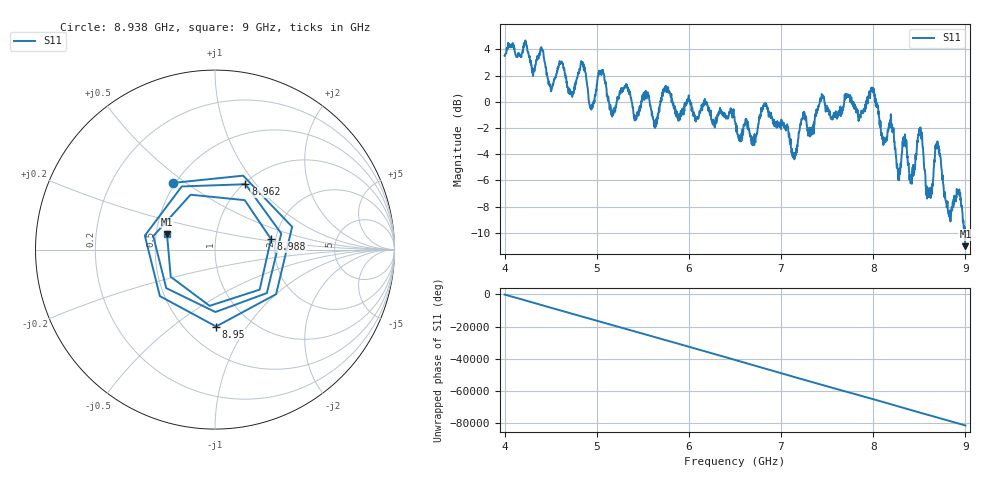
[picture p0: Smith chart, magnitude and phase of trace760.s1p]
! Created with skrf 1.8.0 (http://scikit-rf.org).
# Hz S RI R 50.0
!freq ReS11 ImS11
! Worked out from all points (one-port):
!   1601 points, 4 GHz to 9 GHz, reference 50 ohm
!   lowest |S11| = -11.0 dB at 9 GHz (marker M1), VSWR 1.78, Z = 28.5 + j5.38 ohm
!   |S11| at or under -10 dB: 8.99378 GHz to end of sweep
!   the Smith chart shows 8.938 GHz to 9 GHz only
!   S11 on the Smith chart (normalised r, x): 8.938 GHz: 0.49, +0.45; 8.95 GHz: 0.70, -0.73; 8.962 GHz: 1.02, +0.89; 8.988 GHz: 1.88, +0.25; 9 GHz: 0.57, +0.11
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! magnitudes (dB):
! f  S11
! 4 GHz  3.5
! 4.625 GHz  2.9
! 4.728 GHz  0.8
! 4.85 GHz  2.9
! 4.941 GHz  -0.6
! 5.044 GHz  2.2
! 5.162 GHz  -0.7
! 5.25 GHz  0.8
! 5.875 GHz  -1.2
! 6.5 GHz  -1.5
! 6.7 GHz  -2.8
! 6.831 GHz  -0.1
! 7.125 GHz  -4.2
! 7.441 GHz  0.6
! 7.75 GHz  0.5
! 7.994 GHz  0.8
! 8.275 GHz  -5.1
! 8.375 GHz  -4.7
! 8.425 GHz  -5.2
! 8.509 GHz  -2.1
! 8.597 GHz  -6.8
! 8.697 GHz  -3.0
! 8.819 GHz  -8.6
! 8.938 GHz  -7.2
! 8.95 GHz  -7.4
! 8.962 GHz  -7.9
! 8.988 GHz  -10.0
! 9 GHz  -11.0
